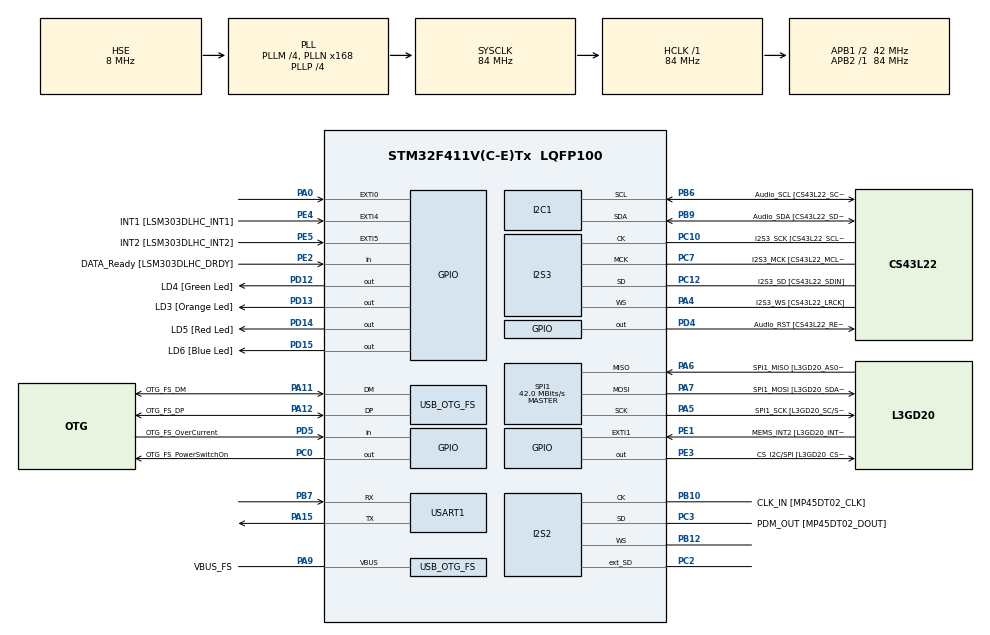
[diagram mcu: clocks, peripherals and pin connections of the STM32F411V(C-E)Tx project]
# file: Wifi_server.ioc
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I2S2.AudioFreq=I2S_AUDIOFREQ_96K
I2S2.ErrorAudioFreq=0.15 %
I2S2.FullDuplexMode=I2S_FULLDUPLEXMODE_ENABLE
I2S2.Instance=SPI$Index
I2S2.RealAudioFreq=96.153 KHz
I2S2.VirtualMode=I2S_MODE_MASTER
I2S3.AudioFreq=I2S_AUDIOFREQ_96K
I2S3.ErrorAudioFreq=-6.99 %
I2S3.FullDuplexMode=I2S_FULLDUPLEXMODE_DISABLE
I2S3.Instance=SPI$Index
I2S3.RealAudioFreq=89.285 KHz
I2S3.VirtualMode=I2S_MODE_MASTER
Mcu.Family=STM32F4
Mcu.Name=STM32F411V(C-E)Tx
Mcu.Package=LQFP100
NVIC.OTG_FS_IRQn=true\:0\:0\:false\:false\:true\:true\:true
NVIC.PriorityGroup=NVIC_PRIORITYGROUP_0
PA0-WKUP.GPIO_ModeDefaultEXTI=GPIO_MODE_EVT_RISING
PA0-WKUP.Signal=GPXTI0
PA10.GPIO_Label=OTG_FS_ID
PA10.Signal=USB_OTG_FS_ID
PA11.GPIO_Label=OTG_FS_DM
PA11.Mode=Device_Only
PA11.Signal=USB_OTG_FS_DM
PA12.GPIO_Label=OTG_FS_DP
PA12.Mode=Device_Only
PA12.Signal=USB_OTG_FS_DP
PA13.GPIO_Label=SWDIO
PA13.Mode=Serial_Wire
PA13.Signal=SYS_JTMS-SWDIO
PA14.GPIO_Label=SWCLK
PA14.Mode=Serial_Wire
PA14.Signal=SYS_JTCK-SWCLK
PA15.Mode=Asynchronous
PA15.Signal=USART1_TX
PA4.GPIO_Label=I2S3_WS [CS43L22_LRCK]
PA4.GPIO_Mode=GPIO_MODE_AF_PP
PA4.GPIO_PuPd=GPIO_NOPULL
PA4.GPIO_Speed=GPIO_SPEED_FREQ_LOW
PA4.Mode=Half_Duplex_Master
PA4.Signal=I2S3_WS
PA5.GPIO_Label=SPI1_SCK [L3GD20_SC/SPC]
PA5.Mode=Full_Duplex_Master
PA5.Signal=SPI1_SCK
PA6.GPIO_Label=SPI1_MISO [L3GD20_AS0/SDO]
PA6.Mode=Full_Duplex_Master
PA6.Signal=SPI1_MISO
PA7.GPIO_Label=SPI1_MOSI [L3GD20_SDA/SDI/SDO]
PA7.Mode=Full_Duplex_Master
PA7.Signal=SPI1_MOSI
PA9.GPIO_Label=VBUS_FS
PA9.Mode=Activate_VBUS
PA9.Signal=USB_OTG_FS_VBUS
PB10.GPIO_Label=CLK_IN [MP45DT02_CLK]
PB10.Mode=Full_Duplex_Master
PB10.Signal=I2S2_CK
PB12.Mode=Full_Duplex_Master
PB12.Signal=I2S2_WS
PB3.GPIO_Label=SWO
PB3.Signal=SYS_JTDO-SWO
PB6.GPIO_Label=Audio_SCL [CS43L22_SCL]
PB6.GPIO_Mode=GPIO_MODE_AF_OD
PB6.GPIO_PuPd=GPIO_NOPULL
PB6.GPIO_Speed=GPIO_SPEED_FREQ_LOW
PB6.Mode=I2C
PB6.Signal=I2C1_SCL
PB7.Mode=Asynchronous
PB7.Signal=USART1_RX
PB9.GPIO_Label=Audio_SDA [CS43L22_SDA]
PB9.GPIO_Mode=GPIO_MODE_AF_OD
PB9.GPIO_PuPd=GPIO_NOPULL
PB9.GPIO_Speed=GPIO_SPEED_FREQ_LOW
PB9.Mode=I2C
PB9.Signal=I2C1_SDA
PC0.GPIO_Label=OTG_FS_PowerSwitchOn
PC0.PinState=GPIO_PIN_SET
PC0.Signal=GPIO_Output
PC10.GPIO_Label=I2S3_SCK [CS43L22_SCLK]
PC10.GPIO_Mode=GPIO_MODE_AF_PP
PC10.GPIO_PuPd=GPIO_NOPULL
PC10.GPIO_Speed=GPIO_SPEED_FREQ_LOW
PC10.Mode=Half_Duplex_Master
PC10.Signal=I2S3_CK
PC12.GPIO_Label=I2S3_SD [CS43L22_SDIN]
PC12.GPIO_Mode=GPIO_MODE_AF_PP
PC12.GPIO_PuPd=GPIO_NOPULL
PC12.GPIO_Speed=GPIO_SPEED_FREQ_LOW
PC12.Mode=Half_Duplex_Master
PC12.Signal=I2S3_SD
PC14-OSC32_IN.GPIO_Label=PC14-OSC32_IN
PC14-OSC32_IN.Signal=RCC_OSC32_IN
PC15-OSC32_OUT.GPIO_Label=PC15-OSC32_OUT
PC15-OSC32_OUT.Signal=RCC_OSC32_OUT
PC2.Mode=Full_Duplex_Master
PC2.Signal=I2S2_ext_SD
PC3.GPIO_Label=PDM_OUT [MP45DT02_DOUT]
PC3.Mode=Full_Duplex_Master
PC3.Signal=I2S2_SD
PC7.GPIO_Label=I2S3_MCK [CS43L22_MCLK]
PC7.GPIO_Mode=GPIO_MODE_AF_PP
PC7.GPIO_PuPd=GPIO_NOPULL
PC7.GPIO_Speed=GPIO_SPEED_FREQ_LOW
PC7.Mode=Master_Clock_Activated
PC7.Signal=I2S3_MCK
PD12.GPIO_Label=LD4 [Green Led]
PD12.GPIO_PuPd=GPIO_NOPULL
PD12.GPIO_Speed=GPIO_SPEED_FREQ_LOW
PD12.Signal=GPIO_Output
PD13.GPIO_Label=LD3 [Orange Led]
PD13.GPIO_PuPd=GPIO_NOPULL
PD13.GPIO_Speed=GPIO_SPEED_FREQ_LOW
PD13.Signal=GPIO_Output
PD14.GPIO_Label=LD5 [Red Led]
PD14.GPIO_PuPd=GPIO_NOPULL
PD14.GPIO_Speed=GPIO_SPEED_FREQ_LOW
PD14.Signal=GPIO_Output
PD15.GPIO_Label=LD6 [Blue Led]
PD15.GPIO_PuPd=GPIO_NOPULL
PD15.GPIO_Speed=GPIO_SPEED_FREQ_LOW
PD15.Signal=GPIO_Output
PD4.GPIO_Label=Audio_RST [CS43L22_RESET]
PD4.Signal=GPIO_Output
PD5.GPIO_Label=OTG_FS_OverCurrent
PD5.Signal=GPIO_Input
PE1.GPIO_Label=MEMS_INT2 [L3GD20_INT2]
PE1.GPIO_ModeDefaultEXTI=GPIO_MODE_EVT_RISING
PE1.Signal=GPXTI1
PE2.GPIO_Label=DATA_Ready [LSM303DLHC_DRDY]
PE2.Signal=GPIO_Input
PE3.GPIO_Label=CS_I2C/SPI [L3GD20_CS_I2C/SPI]
PE3.Signal=GPIO_Output
PE4.GPIO_Label=INT1 [LSM303DLHC_INT1]
PE4.GPIO_ModeDefaultEXTI=GPIO_MODE_EVT_RISING
PE4.Signal=GPXTI4
PE5.GPIO_Label=INT2 [LSM303DLHC_INT2]
PE5.GPIO_ModeDefaultEXTI=GPIO_MODE_EVT_RISING
PE5.Signal=GPXTI5
PH0\ -\ OSC_IN.GPIO_Label=PH0-OSC_IN
PH0\ -\ OSC_IN.Mode=HSE-External-Oscillator
PH0\ -\ OSC_IN.Signal=RCC_OSC_IN
PH1\ -\ OSC_OUT.GPIO_Label=PH1-OSC_OUT
PH1\ -\ OSC_OUT.Mode=HSE-External-Oscillator
PH1\ -\ OSC_OUT.Signal=RCC_OSC_OUT
ProjectManager.HeapSize=0x200
ProjectManager.StackSize=0x400
ProjectManager.TargetToolchain=STM32CubeIDE
RCC.48MHZClocksFreq_Value=48000000
RCC.AHBFreq_Value=84000000
RCC.APB1CLKDivider=RCC_HCLK_DIV2
RCC.APB1Freq_Value=42000000
RCC.APB1TimFreq_Value=84000000
RCC.APB2Freq_Value=84000000
RCC.APB2TimFreq_Value=84000000
RCC.CortexFreq_Value=84000000
RCC.HCLKFreq_Value=84000000
RCC.HSE_VALUE=8000000
RCC.HSI_VALUE=16000000
RCC.LSE_VALUE=32768
RCC.PLLI2SM=5
RCC.PLLI2SN=200
RCC.PLLM=4
RCC.PLLN=168
RCC.PLLP=RCC_PLLP_DIV4
RCC.PLLQ=7
RCC.SYSCLKFreq_VALUE=84000000
RCC.SYSCLKSource=RCC_SYSCLKSOURCE_PLLCLK
RCC.VCOOutputFreq_Value=336000000
SPI1.BaudRatePrescaler=SPI_BAUDRATEPRESCALER_2
SPI1.CalculateBaudRate=42.0 MBits/s
SPI1.Direction=SPI_DIRECTION_2LINES
SPI1.Mode=SPI_MODE_MASTER
SPI1.VirtualType=VM_MASTER
USART1.VirtualMode=VM_ASYNC
USB_DEVICE.CLASS_NAME_FS=CDC
USB_DEVICE.VirtualMode=Cdc
USB_DEVICE.VirtualModeFS=Cdc_FS
USB_OTG_FS.VirtualMode=Device_Only
VP_USB_DEVICE_VS_USB_DEVICE_CDC_FS.Mode=CDC_FS
board=STM32F411E-DISCO

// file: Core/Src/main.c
/* USER CODE BEGIN Header */
/**
  ******************************************************************************
  * @file           : main.c
  * @brief          : Main program body
  ******************************************************************************
  * @attention
  *
  * <h2><center>&copy; Copyright (c) 2020 STMicroelectronics.
  * All rights reserved.</center></h2>
  *
  * This software component is licensed by ST under Ultimate Liberty license
  * SLA0044, the "License"; You may not use this file except in compliance with
  * the License. You may obtain a copy of the License at:
  *                             www.st.com/SLA0044
  *
  ******************************************************************************
  */
/* USER CODE END Header */

#include "main.h"
#include "usb_device.h"

/* USER CODE BEGIN Includes */

#include "usbd_cdc_if.h"

/* USER CODE END Includes */

I2C_HandleTypeDef hi2c1;

I2S_HandleTypeDef hi2s2;
I2S_HandleTypeDef hi2s3;

SPI_HandleTypeDef hspi1;

UART_HandleTypeDef huart1;

void SystemClock_Config(void);
static void MX_GPIO_Init(void);
static void MX_I2C1_Init(void);
static void MX_I2S2_Init(void);
static void MX_I2S3_Init(void);
static void MX_SPI1_Init(void);
static void MX_USART1_UART_Init(void);
/* USER CODE BEGIN PFP */

void esp8622init_server(void);

/* USER CODE END PFP */

/* USER CODE BEGIN 0 */

uint8_t prejetoSporocilo[255] = {};

void esp8622init_server(void){
	/*	TCP server.
	 *	Uart1 (PA15_TX ; PB7_RX)-> TCP server.
	*/

	HAL_UART_Transmit(&huart1, (uint8_t*)"AT+CWMODE=2\r\n", 13, 1000); // AP mode aka. router mode.
	HAL_UART_Receive(&huart1, prejetoSporocilo, 255, 1000);
	/*CDC_Transmit_FS(prejetoSporocilo, 255);
	memset(prejetoSporocilo, 0, 255);*/

	HAL_UART_Transmit(&huart1, (uint8_t*)"AT+CWSAP=\"server\",\"123456780\",1,3\r\n", 35, 1000); // Set up AP with designated ssid and password.
	HAL_UART_Receive(&huart1, prejetoSporocilo, 255, 1000);
	/*CDC_Transmit_FS(prejetoSporocilo, 255);
	memset(prejetoSporocilo, 0, 255);*/

	HAL_UART_Transmit(&huart1, (uint8_t*)"AT+CIPMUX=1\r\n", 13, 1000); // Enable multiple connections.
	HAL_UART_Receive(&huart1, prejetoSporocilo, 255, 1000);
	/*CDC_Transmit_FS(prejetoSporocilo, 255);
	memset(prejetoSporocilo, 0, 255);*/

	HAL_UART_Transmit(&huart1, (uint8_t*)"AT+CIPSERVER=1\r\n", 16, 1000); // Start server at the default port 3333 with default IP.
	HAL_UART_Receive(&huart1, prejetoSporocilo, 255, 1000);
	/*CDC_Transmit_FS(prejetoSporocilo, 255);
	memset(prejetoSporocilo, 0, 255);*/

	// WARNING: server default IP: 192.168.4.1
	// Hopefully it does not change.
	// AT+CIPSTA="192.168.4.1" in case of emergency don't break the glass, use this command. :) ; not tested.
}

/* USER CODE END 0 */

int main(void)
{

  /* MCU Configuration--------------------------------------------------------*/

  /* Reset of all peripherals, Initializes the Flash interface and the Systick. */
  HAL_Init();

  /* Configure the system clock */
  SystemClock_Config();

  /* Initialize all configured peripherals */
  MX_GPIO_Init();
  MX_I2C1_Init();
  MX_I2S2_Init();
  MX_I2S3_Init();
  MX_SPI1_Init();
  MX_USART1_UART_Init();
  MX_USB_DEVICE_Init();
  /* USER CODE BEGIN 2 */
  esp8622init_server();

  uint8_t prejetoSporocilo[512];
  /* USER CODE END 2 */

  /* Infinite loop */
  /* USER CODE BEGIN WHILE */
  while (1)
  {
    memset(prejetoSporocilo, 0, 512);
	  HAL_StatusTypeDef status = HAL_UART_Receive(&huart1, prejetoSporocilo, 512, 100); // this WILL timeout - no packet will be split between 2 buffers!!!

    // debug
    //uint8_t demo[256] = {13, 10, 43, 73, 80, 68, 44, 48, 44, 50, 52, 48, 58, 170, 161, 170, 161, 51, 51, 211, 63, 0, 0, 0, 0, 0, 0, 0, 0, 0, 0, 0, 0, 170, 161, 170, 161, 51, 51, 211, 63, 0, 0, 0, 0, 0, 0, 0, 0, 0, 0, 0, 0, 170, 171, 170, 171, 191, 22, 85, 188, 86, 107, 100, 60, 240, 230, 252, 190, 0, 0, 0, 0, 170, 171, 170, 171, 186, 138, 212, 188, 129, 51, 201, 60, 71, 108, 124, 191, 0, 0, 0, 0, 170, 161, 170, 161, 51, 51, 211, 63, 0, 0, 0, 0, 0, 0, 0, 0, 0, 0, 0, 0, 170, 171, 170, 171, 22, 153, 61, 189, 241, 210, 15, 61, 106, 237, 188, 191, 0, 0, 0, 0, 170, 171, 170, 171, 138, 78, 115, 189, 243, 250, 70, 61, 42, 17, 252, 191, 0, 0, 0, 0, 170, 161, 170, 161, 51, 51, 211, 63, 0, 0, 0, 0, 0, 0, 0, 0, 0, 0, 0, 0, 170, 171, 170, 171, 50, 241, 160, 189, 138, 44, 127, 61, 130, 179, 29, 192, 0, 0, 0, 0, 170, 161, 170, 161, 51, 51, 211, 63, 0, 0, 0, 0, 0, 0, 0, 0, 0, 0, 0, 0, 170, 171, 170, 171, 252, 197, 192, 189, 8, 72, 157, 61, 210, 52, 61, 192, 0, 0, 0, 0, 170, 171, 170, 171, 196, 177, 229, 189, 166, 196, 182, 61, 140, 212, 92, 192, 0, 0, 0, 0 };
    //memcpy(prejetoSporocilo, demo, 256);

    uint16_t idx = 0;
    while(1) { // packets
      if (prejetoSporocilo[idx] == 0)
        break;
      while(prejetoSporocilo[idx] != (uint8_t)':') { // search end of header
        idx++;
        if (idx == 512){
        	break;
        }
      }
      if (idx == 512){
      	break;
      }
      uint16_t start = idx + 1;
      // parse content length
      idx--;
      uint16_t content_length = 0; uint8_t power_of_10 = 0;
      while(prejetoSporocilo[idx] < 58 && prejetoSporocilo[idx] > 47) { // is digit
        uint16_t digit = prejetoSporocilo[idx] - 48;
        for (uint8_t i = 0; i < power_of_10; i++){
          digit *= 10;
        }
        content_length += digit;
        power_of_10++;
        idx--;
      }
      idx = start + content_length;
      CDC_Transmit_FS((uint8_t*) &prejetoSporocilo[start], content_length);
    }
  }
  /* USER CODE END WHILE */

}

void SystemClock_Config(void)
{
  RCC_OscInitTypeDef RCC_OscInitStruct = {0};
  RCC_ClkInitTypeDef RCC_ClkInitStruct = {0};
  RCC_PeriphCLKInitTypeDef PeriphClkInitStruct = {0};

  /** Configure the main internal regulator output voltage
  */
  __HAL_RCC_PWR_CLK_ENABLE();
  __HAL_PWR_VOLTAGESCALING_CONFIG(PWR_REGULATOR_VOLTAGE_SCALE1);
  /** Initializes the CPU, AHB and APB busses clocks
  */
  RCC_OscInitStruct.OscillatorType = RCC_OSCILLATORTYPE_HSE;
  RCC_OscInitStruct.HSEState = RCC_HSE_ON;
  RCC_OscInitStruct.PLL.PLLState = RCC_PLL_ON;
  RCC_OscInitStruct.PLL.PLLSource = RCC_PLLSOURCE_HSE;
  RCC_OscInitStruct.PLL.PLLM = 4;
  RCC_OscInitStruct.PLL.PLLN = 168;
  RCC_OscInitStruct.PLL.PLLP = RCC_PLLP_DIV4;
  RCC_OscInitStruct.PLL.PLLQ = 7;
  if (HAL_RCC_OscConfig(&RCC_OscInitStruct) != HAL_OK)
  {
    Error_Handler();
  }
  /** Initializes the CPU, AHB and APB busses clocks
  */
  RCC_ClkInitStruct.ClockType = RCC_CLOCKTYPE_HCLK|RCC_CLOCKTYPE_SYSCLK
                              |RCC_CLOCKTYPE_PCLK1|RCC_CLOCKTYPE_PCLK2;
  RCC_ClkInitStruct.SYSCLKSource = RCC_SYSCLKSOURCE_PLLCLK;
  RCC_ClkInitStruct.AHBCLKDivider = RCC_SYSCLK_DIV1;
  RCC_ClkInitStruct.APB1CLKDivider = RCC_HCLK_DIV2;
  RCC_ClkInitStruct.APB2CLKDivider = RCC_HCLK_DIV1;

  if (HAL_RCC_ClockConfig(&RCC_ClkInitStruct, FLASH_LATENCY_2) != HAL_OK)
  {
    Error_Handler();
  }
  PeriphClkInitStruct.PeriphClockSelection = RCC_PERIPHCLK_I2S;
  PeriphClkInitStruct.PLLI2S.PLLI2SN = 200;
  PeriphClkInitStruct.PLLI2S.PLLI2SM = 5;
  PeriphClkInitStruct.PLLI2S.PLLI2SR = 2;
  if (HAL_RCCEx_PeriphCLKConfig(&PeriphClkInitStruct) != HAL_OK)
  {
    Error_Handler();
  }
}

static void MX_I2C1_Init(void)
{

  hi2c1.Instance = I2C1;
  hi2c1.Init.ClockSpeed = 100000;
  hi2c1.Init.DutyCycle = I2C_DUTYCYCLE_2;
  hi2c1.Init.OwnAddress1 = 0;
  hi2c1.Init.AddressingMode = I2C_ADDRESSINGMODE_7BIT;
  hi2c1.Init.DualAddressMode = I2C_DUALADDRESS_DISABLE;
  hi2c1.Init.OwnAddress2 = 0;
  hi2c1.Init.GeneralCallMode = I2C_GENERALCALL_DISABLE;
  hi2c1.Init.NoStretchMode = I2C_NOSTRETCH_DISABLE;
  if (HAL_I2C_Init(&hi2c1) != HAL_OK)
  {
    Error_Handler();
  }

}

static void MX_I2S2_Init(void)
{

  hi2s2.Instance = SPI2;
  hi2s2.Init.Mode = I2S_MODE_MASTER_TX;
  hi2s2.Init.Standard = I2S_STANDARD_PHILIPS;
  hi2s2.Init.DataFormat = I2S_DATAFORMAT_16B;
  hi2s2.Init.MCLKOutput = I2S_MCLKOUTPUT_DISABLE;
  hi2s2.Init.AudioFreq = I2S_AUDIOFREQ_96K;
  hi2s2.Init.CPOL = I2S_CPOL_LOW;
  hi2s2.Init.ClockSource = I2S_CLOCK_PLL;
  hi2s2.Init.FullDuplexMode = I2S_FULLDUPLEXMODE_ENABLE;
  if (HAL_I2S_Init(&hi2s2) != HAL_OK)
  {
    Error_Handler();
  }

}

static void MX_I2S3_Init(void)
{

  hi2s3.Instance = SPI3;
  hi2s3.Init.Mode = I2S_MODE_MASTER_TX;
  hi2s3.Init.Standard = I2S_STANDARD_PHILIPS;
  hi2s3.Init.DataFormat = I2S_DATAFORMAT_16B;
  hi2s3.Init.MCLKOutput = I2S_MCLKOUTPUT_ENABLE;
  hi2s3.Init.AudioFreq = I2S_AUDIOFREQ_96K;
  hi2s3.Init.CPOL = I2S_CPOL_LOW;
  hi2s3.Init.ClockSource = I2S_CLOCK_PLL;
  hi2s3.Init.FullDuplexMode = I2S_FULLDUPLEXMODE_DISABLE;
  if (HAL_I2S_Init(&hi2s3) != HAL_OK)
  {
    Error_Handler();
  }

}

static void MX_SPI1_Init(void)
{

  /* SPI1 parameter configuration*/
  hspi1.Instance = SPI1;
  hspi1.Init.Mode = SPI_MODE_MASTER;
  hspi1.Init.Direction = SPI_DIRECTION_2LINES;
  hspi1.Init.DataSize = SPI_DATASIZE_8BIT;
  hspi1.Init.CLKPolarity = SPI_POLARITY_LOW;
  hspi1.Init.CLKPhase = SPI_PHASE_1EDGE;
  hspi1.Init.NSS = SPI_NSS_SOFT;
  hspi1.Init.BaudRatePrescaler = SPI_BAUDRATEPRESCALER_2;
  hspi1.Init.FirstBit = SPI_FIRSTBIT_MSB;
  hspi1.Init.TIMode = SPI_TIMODE_DISABLE;
  hspi1.Init.CRCCalculation = SPI_CRCCALCULATION_DISABLE;
  hspi1.Init.CRCPolynomial = 10;
  if (HAL_SPI_Init(&hspi1) != HAL_OK)
  {
    Error_Handler();
  }

}

static void MX_USART1_UART_Init(void)
{

  huart1.Instance = USART1;
  huart1.Init.BaudRate = 115200;
  huart1.Init.WordLength = UART_WORDLENGTH_8B;
  huart1.Init.StopBits = UART_STOPBITS_1;
  huart1.Init.Parity = UART_PARITY_NONE;
  huart1.Init.Mode = UART_MODE_TX_RX;
  huart1.Init.HwFlowCtl = UART_HWCONTROL_NONE;
  huart1.Init.OverSampling = UART_OVERSAMPLING_16;
  if (HAL_UART_Init(&huart1) != HAL_OK)
  {
    Error_Handler();
  }

}

static void MX_GPIO_Init(void)
{
  GPIO_InitTypeDef GPIO_InitStruct = {0};

  /* GPIO Ports Clock Enable */
  __HAL_RCC_GPIOE_CLK_ENABLE();
  __HAL_RCC_GPIOC_CLK_ENABLE();
  __HAL_RCC_GPIOH_CLK_ENABLE();
  __HAL_RCC_GPIOA_CLK_ENABLE();
  __HAL_RCC_GPIOB_CLK_ENABLE();
  __HAL_RCC_GPIOD_CLK_ENABLE();

  /*Configure GPIO pin Output Level */
  HAL_GPIO_WritePin(CS_I2C_SPI_GPIO_Port, CS_I2C_SPI_Pin, GPIO_PIN_RESET);

  /*Configure GPIO pin Output Level */
  HAL_GPIO_WritePin(OTG_FS_PowerSwitchOn_GPIO_Port, OTG_FS_PowerSwitchOn_Pin, GPIO_PIN_SET);

  /*Configure GPIO pin Output Level */
  HAL_GPIO_WritePin(GPIOD, LD4_Pin|LD3_Pin|LD5_Pin|LD6_Pin
                          |Audio_RST_Pin, GPIO_PIN_RESET);

  /*Configure GPIO pin : DATA_Ready_Pin */
  GPIO_InitStruct.Pin = DATA_Ready_Pin;
  GPIO_InitStruct.Mode = GPIO_MODE_INPUT;
  GPIO_InitStruct.Pull = GPIO_NOPULL;
  HAL_GPIO_Init(DATA_Ready_GPIO_Port, &GPIO_InitStruct);

  /*Configure GPIO pin : CS_I2C_SPI_Pin */
  GPIO_InitStruct.Pin = CS_I2C_SPI_Pin;
  GPIO_InitStruct.Mode = GPIO_MODE_OUTPUT_PP;
  GPIO_InitStruct.Pull = GPIO_NOPULL;
  GPIO_InitStruct.Speed = GPIO_SPEED_FREQ_LOW;
  HAL_GPIO_Init(CS_I2C_SPI_GPIO_Port, &GPIO_InitStruct);

  /*Configure GPIO pins : INT1_Pin INT2_Pin MEMS_INT2_Pin */
  GPIO_InitStruct.Pin = INT1_Pin|INT2_Pin|MEMS_INT2_Pin;
  GPIO_InitStruct.Mode = GPIO_MODE_EVT_RISING;
  GPIO_InitStruct.Pull = GPIO_NOPULL;
  HAL_GPIO_Init(GPIOE, &GPIO_InitStruct);

  /*Configure GPIO pin : OTG_FS_PowerSwitchOn_Pin */
  GPIO_InitStruct.Pin = OTG_FS_PowerSwitchOn_Pin;
  GPIO_InitStruct.Mode = GPIO_MODE_OUTPUT_PP;
  GPIO_InitStruct.Pull = GPIO_NOPULL;
  GPIO_InitStruct.Speed = GPIO_SPEED_FREQ_LOW;
  HAL_GPIO_Init(OTG_FS_PowerSwitchOn_GPIO_Port, &GPIO_InitStruct);

  /*Configure GPIO pin : PA0 */
  GPIO_InitStruct.Pin = GPIO_PIN_0;
  GPIO_InitStruct.Mode = GPIO_MODE_EVT_RISING;
  GPIO_InitStruct.Pull = GPIO_NOPULL;
  HAL_GPIO_Init(GPIOA, &GPIO_InitStruct);

  /*Configure GPIO pins : LD4_Pin LD3_Pin LD5_Pin LD6_Pin
                           Audio_RST_Pin */
  GPIO_InitStruct.Pin = LD4_Pin|LD3_Pin|LD5_Pin|LD6_Pin
                          |Audio_RST_Pin;
  GPIO_InitStruct.Mode = GPIO_MODE_OUTPUT_PP;
  GPIO_InitStruct.Pull = GPIO_NOPULL;
  GPIO_InitStruct.Speed = GPIO_SPEED_FREQ_LOW;
  HAL_GPIO_Init(GPIOD, &GPIO_InitStruct);

  /*Configure GPIO pin : OTG_FS_OverCurrent_Pin */
  GPIO_InitStruct.Pin = OTG_FS_OverCurrent_Pin;
  GPIO_InitStruct.Mode = GPIO_MODE_INPUT;
  GPIO_InitStruct.Pull = GPIO_NOPULL;
  HAL_GPIO_Init(OTG_FS_OverCurrent_GPIO_Port, &GPIO_InitStruct);

}

void Error_Handler(void)
{
}

/************************ (C) COPYRIGHT STMicroelectronics *****END OF FILE****/
